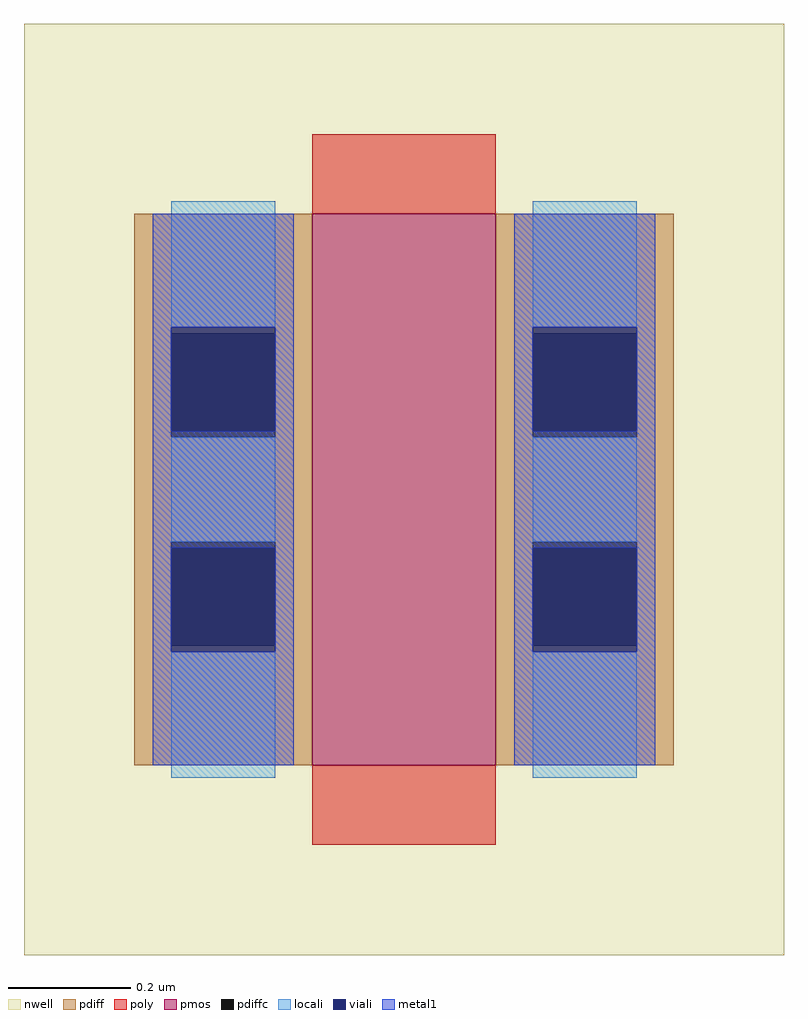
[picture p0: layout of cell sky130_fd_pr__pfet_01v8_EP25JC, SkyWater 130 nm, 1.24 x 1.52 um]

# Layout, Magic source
magic
tech sky130A
magscale 1 2
<< nwell >>
rect -124 -152 124 152
<< pmos >>
rect -30 -90 30 90
<< pdiff >>
rect -88 51 -30 90
rect -88 17 -76 51
rect -42 17 -30 51
rect -88 -17 -30 17
rect -88 -51 -76 -17
rect -42 -51 -30 -17
rect -88 -90 -30 -51
rect 30 51 88 90
rect 30 17 42 51
rect 76 17 88 51
rect 30 -17 88 17
rect 30 -51 42 -17
rect 76 -51 88 -17
rect 30 -90 88 -51
<< pdiffc >>
rect -76 17 -42 51
rect -76 -51 -42 -17
rect 42 17 76 51
rect 42 -51 76 -17
<< poly >>
rect -30 90 30 116
rect -30 -116 30 -90
<< locali >>
rect -76 53 -42 94
rect -76 -17 -42 17
rect -76 -94 -42 -53
rect 42 53 76 94
rect 42 -17 76 17
rect 42 -94 76 -53
<< viali >>
rect -76 51 -42 53
rect -76 19 -42 51
rect -76 -51 -42 -19
rect -76 -53 -42 -51
rect 42 51 76 53
rect 42 19 76 51
rect 42 -51 76 -19
rect 42 -53 76 -51
<< metal1 >>
rect -82 53 -36 90
rect -82 19 -76 53
rect -42 19 -36 53
rect -82 -19 -36 19
rect -82 -53 -76 -19
rect -42 -53 -36 -19
rect -82 -90 -36 -53
rect 36 53 82 90
rect 36 19 42 53
rect 76 19 82 53
rect 36 -19 82 19
rect 36 -53 42 -19
rect 76 -53 82 -19
rect 36 -90 82 -53
<< end >>
